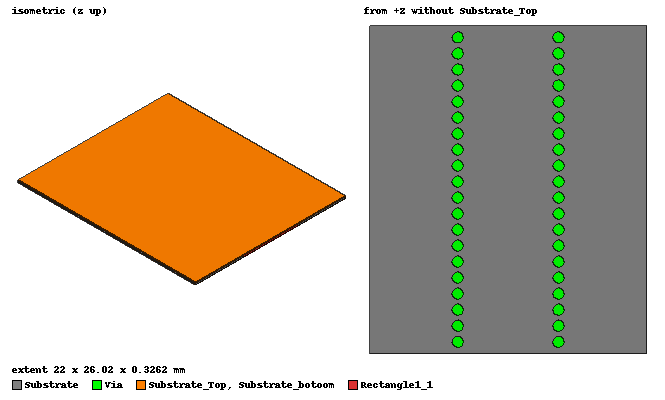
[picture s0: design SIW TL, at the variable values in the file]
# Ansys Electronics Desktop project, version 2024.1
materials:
  vacuum: permittivity=1
  Rogers RO3003 (tm): permittivity=3 dielectric_loss_tangent=0.0013
  copper: permeability=0.999991 conductivity=58000000
  Arlon AD320A (tm): permittivity=3.2 dielectric_loss_tangent=0.0032

design SIW TL (HFSS, HFSS Modal Network, model units mm)
options: Save_Adaptive_support_files
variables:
  Substrate_x = 22mm  # Length of Substrate
  Substrate_y = d+2*offset+(19*p)  # Width of Substrate
  Substrate_h = 10mil  # Substrate Thickness
  Substrate_t = 0.0361mm  # Cladding
  d = 35mil  # Diameter of Vias
  p = 50mil  # Pitch (Via to Via)
  a = 8mm  # Length of Waveguide Section
  offset = 0.5mm
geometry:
  Substrate [Rogers RO3003 (tm)] = box(corner=(-0.5*Substrate_x, 0mm, 0mm), size=(Substrate_x, Substrate_y, Substrate_h))
  Substrate_Top [copper] = sweep_along_normal(Substrate.face(+z), length=Substrate_t)
  Substrate_botoom [copper] = sweep_along_normal(Substrate.face(-z), length=Substrate_t)
  Via [copper] = cylinder(axis=Z, base_centre=(-0.5*a, 0.5*d+offset, 0mm), radius=0.5*d, height=Substrate_h)
  Via.duplicate_along_line(step=(0mm, p, 0mm), total=20, attached)
  Via_1 = Via.duplicate_mirror(point=(0mm, 0mm, 0mm), normal=(1mm, 0mm, 0mm))
  Via.unite(Via_1)
  Rectangle1 = rectangle(corner=(-0.5*a, 0mm, 0mm), z_size=substrate_h, x_size=a)
  Rectangle1_1 = Rectangle1.duplicate_along_line(step=(0mm, Substrate_y, 0mm), total=2)
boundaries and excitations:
  1: Wave Port Faces=Rectangle1.face(at (0, 0, 0.127)) WavePortType=Modal NumModes=1 Modes{Mode1{IntLine{(0, 0, 0) -> (0, 0, 0.254)} CharImp=Zpi}}
  2: Wave Port Objects=Rectangle1_1 WavePortType=Modal NumModes=1 Modes{Mode1{IntLine{(0, 26.019, 0) -> (0, 26.019, 0.254)} CharImp=Zpi}}
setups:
  Setup1: HfssDriven Frequency=40GHz MaxDeltaS=0.015 MaximumPasses=10 MinimumPasses=1 MinimumConvergedPasses=1 PercentRefinement=30 BasisOrder=1 PortAccuracy=2 DrivenSolverType="Direct Solver" IESolverType=ACA
    sweep Sweep: 10GHz to 40GHz step 0.15GHz; Type=Interpolating InterpTolerance=0.5 InterpMaxSolns=250 InterpUsePortImped=false PassivityErrorTolerance=0.0001
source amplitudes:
  1:1: 1W 0deg
  2:1: 0W 0deg
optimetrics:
  a: Parametric Sim._Setups=[Setup1]
    sweep a: LIN 6mm 12mm 1mm
  p: Parametric Sim._Setups=[Setup1]
    sweep p: LIN 45mil 65mil 5mil
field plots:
  Mag_E1: E Field in Substrate on Setup1 : LastAdaptive at Freq=40GHz Phase=0deg
  Mag_H1: H Field in Substrate on Setup1 : LastAdaptive at Freq=40GHz Phase=0deg
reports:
  insertion Loss: dB(S(1,2)) vs Freq on Setup1 : Sweep; markers m1 at 12.55GHz, m2 at 14.95GHz, m3 at 18.25GHz, m4 at 21.1GHz, m5 at 24.25GHz, m6 at 26.8GHz, m7 at 29.05GHz, m8 at 31.9GHz, m9 at 33.85GHz, m10 at 35.5GHz, m11 at 36.7GHz
  Return Loss: dB(S(1,1)) vs Freq on Setup1 : Sweep; markers m1 at 16.45GHz, m2 at 21.85GHz, m3 at 28.3GHz, m4 at 34.45GHz, m5 at 11.2GHz
  Sweep _a: dB(S(1,2)) vs Freq on Setup1 : Sweep [a=all]
  Sweep_p: dB(S(1,2)) vs Freq on Setup1 : Sweep [p=all]

design SIW_Antenna (HFSS, HFSS Modal Network, model units mm)
options: Save_Adaptive_support_files
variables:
  Substrate_x = a+0.5*d+1.5mm
  Substrate_y = d+2*offset+11*p
  Substrate_h = 0.782mm
  substrate_t = 0.036mm
  d = 0.6mm
  p = 1mm
  a = 5.88mm
  offset = 0.5mm
  slot_d = 1mm
  slot_w = 0.6mm
  Slot_L = 2mm
  landa_g = (3.4*4) mm
  Line_w = 1.88mm
  Taper_L = 5mm
  Taper_W = 2.92mm
  slot_offset = 4mm
  radiation_L = 35mm
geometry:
  Substrate [Arlon AD320A (tm)] = box(corner=(-0.5*Substrate_x, 0mm, 0mm), size=(Substrate_x, Substrate_y, Substrate_h))
  Ground_top [copper] = sweep_along_normal(Substrate.face(+z), length=substrate_t)
  Ground_bottom [copper] = sweep_along_normal(Substrate.face(-z), length=substrate_t)
  Cylinder1 [vacuum] = cylinder(axis=Z, base_centre=(-0.5*a, 0.5*d+offset, 0mm), radius=0.5*d, height=substrate_h)
  Cylinder1.duplicate_along_line(step=(0mm, p, 0mm), total=12, attached)
  Cylinder1_1 = Cylinder1.duplicate_mirror(point=(0mm, 0mm, 0mm), normal=(1mm, 0mm, 0mm))
  Cylinder1.unite(Cylinder1_1)
  Cylinder2 [vacuum] = cylinder(axis=Z, base_centre=(0mm, substrate_y-offset-0.5*d, 0mm), radius=0.5*d, height=substrate_h)
  Cylinder2.duplicate_along_line(step=(p, 0mm, 0mm), total=3, attached)
  Cylinder2_1 = Cylinder2.duplicate_mirror(point=(0mm, 11.8mm, 0.782mm), normal=(-1mm, 0mm, 0mm))
  Cylinder2.unite(Cylinder2_1)
  Rectangle1 = rectangle(corner=(-0.5*taper_W, 0mm, Substrate_h), z_size=Substrate_t, x_size=taper_W)
  Rectangle2 = rectangle(corner=(-0.5*line_w, -taper_L, Substrate_h), z_size=Substrate_t, x_size=line_W)
  Rectangle1.connect(Rectangle2)
  Rectangle1_SweepFaceAlongNormal1 = sweep_along_normal(Rectangle2.face, length=5mm)
  Substrate_SweepFaceAlongNormal1 = sweep_along_normal(Substrate.face(-y), length=5mm+taper_L)
  Ground_bottom_SweepFaceAlongNormal1 = sweep_along_normal(Ground_bottom.face(at (0, 0, -0.018)), length=5mm+taper_L)
  Substrate.unite(Substrate_SweepFaceAlongNormal1)
  Ground_bottom.unite(Ground_bottom_SweepFaceAlongNormal1)
  Ground_top.unite(Rectangle1, Rectangle1_SweepFaceAlongNormal1)
  Slot1 = box(corner=(Slot_d, substrate_y-0.25*landa_g+0.5*slot_L, substrate_h), size=(Slot_w, -Slot_L, Substrate_t))
  Slot2 = box(corner=(-Slot_d, substrate_y-0.25*landa_g+0.5*slot_L-slot_offset, substrate_h), size=(-Slot_w, -Slot_L, Substrate_t))
  Slot1.unite(Slot2)
  Ground_top.subtract(Slot1)
  Rectangle3 = rectangle(corner=(-0.5*Line_w, -5mm-taper_L, 0mm), z_size=Substrate_h, x_size=line_w)
  Box1 [vacuum] = box(corner=(-0.5*radiation_L, -0.5*radiation_L, -0.5*radiation_L), size=(radiation_L, radiation_L, radiation_L))
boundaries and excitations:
  Rad1: Radiation Objects=Box1
  1: Lumped Port Faces=Rectangle3.face LumpedPortType=Modal Modes{Mode1{IntLine{(0, -10, 0) -> (0, -10, 0.782)} CharImp=Zpi RenormImp=50ohm}} Impedance=50ohm
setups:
  Setup1: HfssDriven Frequency=22GHz MaxDeltaS=0.02 MaximumPasses=6 MinimumPasses=1 MinimumConvergedPasses=1 PercentRefinement=30 BasisOrder=1 PortAccuracy=2 DrivenSolverType="Direct Solver" IESolverType=ACA
    sweep Sweep: 12GHz to 26GHz step 0.25GHz; Type=Interpolating InterpTolerance=0.5 InterpMaxSolns=250 InterpUsePortImped=false PassivityErrorTolerance=0.0001
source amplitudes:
  1:1: 1W 0deg
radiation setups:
  Infinite Sphere1: Infinite Sphere Theta=0deg..180deg step 10deg Phi=0deg..360deg step 10deg
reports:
  XY Plot 1: dB(S(1,1)) vs Freq on Setup1 : Sweep
  Radiation Pattern 1: dB(GainTotal) vs Theta on Setup1 : LastAdaptive, Infinite Sphere1 [Phi=270deg Freq=22GHz]; markers m1 at 20deg, m2 at 80deg, m3 at 130deg, m4 at 50deg
